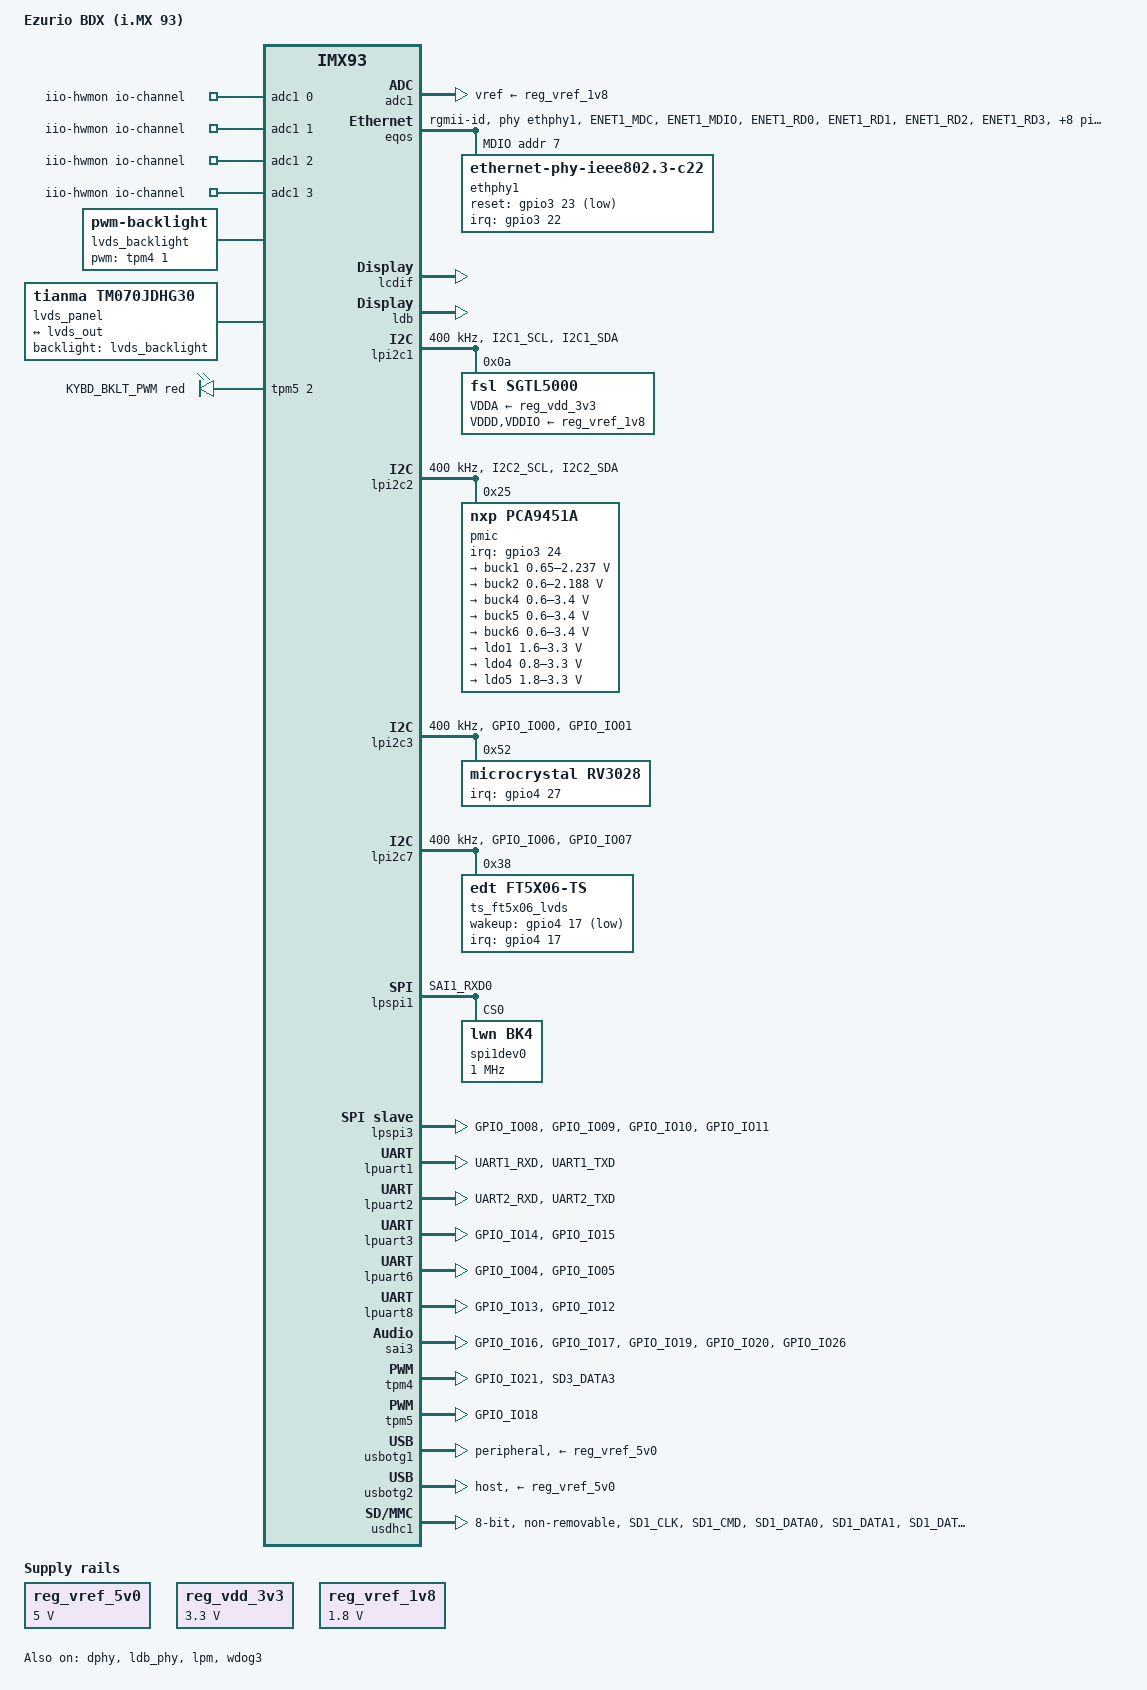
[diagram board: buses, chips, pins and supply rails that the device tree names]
// SPDX-License-Identifier: (GPL-2.0-or-later OR MIT)
/*
 * Copyright 2025 Ezurio LLC
 *
 */

/dts-v1/;

#include <dt-bindings/leds/common.h>
#include <dt-bindings/net/ti-dp83867.h>
#include <dt-bindings/usb/pd.h>
#include "imx93.dtsi"

/ {
	model = "Ezurio BDX (i.MX 93)";
	compatible = "ezurio,imx93-bdx", "fsl,imx93";

	aliases {
		eth0 = &eqos;
		rtc0 = &rv3028;
		rtc1 = &bbnsm_rtc;
	};

#if 0
	amplifier {
		compatible = "maxim,max9759"; /* U43 TPA2012D2RTJR */
		pinctrl-names = "default";
		pinctrl-0 = <&pinctrl_amp>;
		shutdown-gpios = <&gpio4 25 GPIO_ACTIVE_LOW>;
		// mute-gpios = <&gpio3 19 GPIO_ACTIVE_LOW>;
		gain-gpios = <&gpio4 28 GPIO_ACTIVE_LOW>,
			<&gpio4 29 GPIO_ACTIVE_LOW>;
	};
#endif

	chosen {
		stdout-path = &lpuart1;
	};

	iio-hwmon {
		compatible = "iio-hwmon";
		io-channels = <&adc1 0>, <&adc1 1>, <&adc1 2>, <&adc1 3>;
	};

	sound {
		compatible = "simple-audio-card";
		simple-audio-card,name = "sgtl5000-audio";
		simple-audio-card,format = "i2s";
		simple-audio-card,frame-master = <&codec_dai>;
		simple-audio-card,bitclock-master = <&codec_dai>;
		simple-audio-card,widgets = "Headphone", "Headphone Jack";
		simple-audio-card,routing = "Headphone Jack", "HP_OUT";

		simple-audio-card,cpu {
			sound-dai = <&sai3>;
		};

		codec_dai: simple-audio-card,codec {
			sound-dai = <&sgtl5000>;
		};
	};

	lvds_backlight: lvds_backlight {
		brightness-levels = <0 1 2 3 4 5 6 7 8 9 10>;
		compatible = "pwm-backlight";
		default-brightness-level = <8>;
		display = <&lcdif>;
		pwms = <&tpm4 1 30000 0>;		/* 33.3 Khz */
	};

	lvds_panel {
		compatible = "tianma,tm070jdhg30";	/* BD070LIC3 */
		backlight = <&lvds_backlight>;
		/* Done in u-boot. enable-gpios = <&gpio3 25 GPIO_ACTIVE_LOW>;  XS_LCD_PWR_EN_N */

		port {
			panel_lvds_in: endpoint {
				remote-endpoint = <&lvds_out>;
			};
		};
	};
#if 0
	dsi_backlight: dsi-backlight {
		brightness-levels = <0 1 2 3 4 5 6 7 8 9 10>;
		compatible = "pwm-backlight";
		default-brightness-level = <8>;
		display = <&lcdif>;
		pwms = <&tpm4 1 30000 0>; /* 42 = 24MHz  30000 = 3.3 Khz */
		status = "okay";
	};

	panel_dsi: panel-dsi {
		compatible = "tianma,tm070jdhg30"; /* BD070LIC3 */
		power-supply = <&reg_vref_1v8>;
		backlight = <&dsi_backlight>;

		port {
			panel_in: endpoint {
				remote-endpoint = <&sn65dsi84_bridge_out>;
			};
		};
	};

#endif

	leds {
		compatible = "pwm-leds";

		led-kybd-bklt {
			function = LED_FUNCTION_STATUS;
			color = <LED_COLOR_ID_RED>;
			label = "KYBD_BKLT_PWM";
			max-brightness = <248>;
			pwms = <&tpm5 2 200000 0>; /* 5KHz */
		};
	};

	reserved-memory {
		#address-cells = <2>;
		#size-cells = <2>;
		ranges;

		linux,cma {
			compatible = "shared-dma-pool";
			reusable;
			alloc-ranges = <0 0x80000000 0 0x40000000>;
			size = <0 0x10000000>;
			linux,cma-default;
		};

		ele_reserved: ele-reserved@a4120000 {
			compatible = "shared-dma-pool";
			reg = <0 0xa4120000 0 0x100000>;
			no-map;
		};
	};

	reg_vref_5v0: regulator-5v0 {
		compatible = "regulator-fixed";
		regulator-name = "vref_5V0";
		regulator-min-microvolt = <5000000>;
		regulator-max-microvolt = <5000000>;
	};

	reg_vdd_3v3: regulator-3v3 {
		compatible = "regulator-fixed";
		regulator-name = "vref_3V3";
		regulator-min-microvolt = <3300000>;
		regulator-max-microvolt = <3300000>;
	};

	reg_vref_1v8: regulator-1v8 {
		compatible = "regulator-fixed";
		regulator-name = "vref_1v8";
		regulator-min-microvolt = <1800000>;
		regulator-max-microvolt = <1800000>;
	};
};

&adc1 {
	vref-supply = <&reg_vref_1v8>;
	status = "okay";
};

&dphy {
	status = "okay";
};

&dsi {
	status = "disabled";

#if 0
	ports {
		port@1 {
			reg = <1>;
			dsi_out: endpoint {
				remote-endpoint = <&sn65dsi84_bridge_in>;
			};
		};
	};
#endif
};

&ele_fw2 {
	memory-region = <&ele_reserved>;
};

&eqos {
	pinctrl-names = "default", "sleep";
	pinctrl-0 = <&pinctrl_eqos>;
	pinctrl-1 = <&pinctrl_eqos_sleep>;
	phy-mode = "rgmii-id";
	phy-handle = <&ethphy1>;
	status = "okay";

	mdio {
		compatible = "snps,dwmac-mdio";
		#address-cells = <1>;
		#size-cells = <0>;

		ethphy1: ethernet-phy@7 {
			compatible = "ethernet-phy-ieee802.3-c22";
			pinctrl-names = "default";
			pinctrl-0 = <&pinctrl_phy>;
			reg = <7>;
			interrupts-extended = <&gpio3 22 IRQ_TYPE_LEVEL_LOW>;
			reset-gpios =<&gpio3 23 GPIO_ACTIVE_LOW>;
			reset-assert-us = <25>;
			reset-deassert-us = <60000>;
			ti,rx-internal-delay = <DP83867_RGMIIDCTL_2_25_NS>;
			ti,tx-internal-delay = <DP83867_RGMIIDCTL_2_00_NS>;
			ti,fifo-depth = <DP83867_PHYCR_FIFO_DEPTH_4_B_NIB>;
			ti,clk-output-sel = <DP83867_CLK_O_SEL_OFF>;
		};
	};
};

&gpio2 {
	gpio-line-names = "", "", "", "", "", "",	/* 0 - 5 */
			"", "", "", "", "",		/* 6 - 10 */
			"", "", "", "", "",		/* 11 - 15 */
			"", "", "", "", "",		/* 16 - 20 */
			"", "BKUP_ARM", "LCD_BL_EN", "XS_WD_STRB", "WDO_BUF_N",	/* 21 - 25 */
			"", "VBKUP_SRC_EN_N", "VBKUP_SRC_TST_N", "XS_ID_ENBL_L", "", /* 26 - 30 */
			"";							/* 31 */
};

&gpio3 {
	gpio-line-names = "SD2_CD_B", "MON_LT", "BATT_LT", "REV0", "REV1", "REV2",	/* 0 - 5 */
			"REV3", "REV4", "", "", "",					/* 6 - 10 */
			"", "", "", "", "",						/* 11 - 15 */
			"", "", "", "", "TP_INT",					/* 16 - 20 */
			"BL_EN_N", "ENET1_INTR", "ENET1_RST", "PMIC_IRQ", "XS_LCD_PWR_EN_N", /* 21 - 25 */
			"GPIO26", "GPIO27", "", "", "",					/* 26 - 30 */
			"";								/* 31 */
};

&gpio4 {
	gpio-line-names = "", "", "", "", "", "",					/* 0 - 5 */
			"", "", "", "", "",						/* 6 - 10 */
			"", "", "", "XS_MMC_MMCCMD", "XS_AUX_DET1",			/* 11 - 15 */
			"XS_GPIO109", "PCAP_INT", "XS_AUX_DET3", "XS_AUX_DET2", "XS_LI_BAT_TEST", /* 16 - 20 */
			"CODEC_LI_BAT_TEST", "TP_RST", "MIPI_RST", "BKUP_ALM_OFF", "AMP_SHDN",	/* 21 - 25 */
			"EMMC_RESET_N", "RTC_INT_B", "AUD_GAIN_0", "AUD_GAIN_1", "",	/* 26 - 30 */
			"";								/* 31 */
};

&lcdif {
	assigned-clock-rates = <498000000>, <71142857>, <400000000>, <133333333>;
	status = "okay";
};

&ldb {
	status = "okay";

	lvds-channel@0 {
		status = "okay";

		port@1 {
			reg = <1>;

			lvds_out: endpoint {
				remote-endpoint = <&panel_lvds_in>;
			};
		};
	};

};

&ldb_phy {
	status = "okay";
};

&lpi2c1 {
	#address-cells = <1>;
	#size-cells = <0>;
	clock-frequency = <400000>;
	pinctrl-names = "default", "sleep";
	pinctrl-0 = <&pinctrl_lpi2c1>;
	pinctrl-1 = <&pinctrl_lpi2c1>;
	status = "okay";

	sgtl5000: audio-codec@a {
		compatible = "fsl,sgtl5000";
		reg = <0x0a>;

		clocks = <&clk IMX93_CLK_SAI3_GATE>;
		#sound-dai-cells = <0>;

		VDDA-supply  = <&reg_vdd_3v3>;
		VDDD-supply  = <&reg_vref_1v8>;
		VDDIO-supply = <&reg_vref_1v8>;
	};
};

&lpi2c2 {
	#address-cells = <1>;
	#size-cells = <0>;
	clock-frequency = <400000>;
	pinctrl-names = "default", "sleep";
	pinctrl-0 = <&pinctrl_lpi2c2>;
	pinctrl-1 = <&pinctrl_lpi2c2>;
	status = "okay";

	pmic@25 {
		compatible = "nxp,pca9451a";
		reg = <0x25>;
		pinctrl-names = "default";
		pinctrl-0 = <&pinctrl_pmic>;
		interrupts-extended = <&gpio3 24 IRQ_TYPE_EDGE_FALLING>;

		regulators {
			buck1: BUCK1 {
				regulator-name = "BUCK1";
				regulator-min-microvolt = <650000>;
				regulator-max-microvolt = <2237500>;
				regulator-boot-on;
				regulator-always-on;
				regulator-ramp-delay = <3125>;
			};

			buck2: BUCK2 {
				regulator-name = "BUCK2";
				regulator-min-microvolt = <600000>;
				regulator-max-microvolt = <2187500>;
				regulator-boot-on;
				regulator-always-on;
				regulator-ramp-delay = <3125>;
			};

			buck4: BUCK4{
				regulator-name = "BUCK4";
				regulator-min-microvolt = <600000>;
				regulator-max-microvolt = <3400000>;
				regulator-boot-on;
				regulator-always-on;
			};

			buck5: BUCK5{
				regulator-name = "BUCK5";
				regulator-min-microvolt = <600000>;
				regulator-max-microvolt = <3400000>;
				regulator-boot-on;
				regulator-always-on;
			};

			buck6: BUCK6 {
				regulator-name = "BUCK6";
				regulator-min-microvolt = <600000>;
				regulator-max-microvolt = <3400000>;
				regulator-boot-on;
				regulator-always-on;
			};

			ldo1: LDO1 {
				regulator-name = "LDO1";
				regulator-min-microvolt = <1600000>;
				regulator-max-microvolt = <3300000>;
				regulator-boot-on;
				regulator-always-on;
			};

			ldo4: LDO4 {
				regulator-name = "LDO4";
				regulator-min-microvolt = <800000>;
				regulator-max-microvolt = <3300000>;
				regulator-boot-on;
				regulator-always-on;
			};

			ldo5: LDO5 {
				regulator-name = "LDO5";
				regulator-min-microvolt = <1800000>;
				regulator-max-microvolt = <3300000>;
				regulator-boot-on;
				regulator-always-on;
			};
		};
	};
};

&lpi2c3 {
	#address-cells = <1>;
	#size-cells = <0>;
	clock-frequency = <400000>;
	pinctrl-names = "default", "sleep";
	pinctrl-0 = <&pinctrl_lpi2c3>;
	pinctrl-1 = <&pinctrl_lpi2c3>;
	status = "okay";

	rv3028: rtc@52 {
		#clock-cells = <0>;
		pinctrl-names = "default";
		pinctrl-0 = <&pinctrl_rv3028>;
		compatible = "microcrystal,rv3028";
		reg = <0x52>;
		interrupts-extended = <&gpio4 27 IRQ_TYPE_LEVEL_LOW>;
		wakeup-source;
	};
};

&lpi2c7 { /* TP */
	#address-cells = <1>;
	#size-cells = <0>;
	clock-frequency = <400000>;
	pinctrl-names = "default", "sleep";
	pinctrl-0 = <&pinctrl_lpi2c7>;
	pinctrl-1 = <&pinctrl_lpi2c7>;
	status = "okay";

#if 0
	/* 0x5d or 0x14 */
	ts_goodix_dsi: touchscreen_dsi@5d {
		compatible = "goodix,gt9271";
		AVDD28-supply = <&reg_vref_1v8>; /* Real supply is on the display */
		VDDIO-supply = <&reg_vref_1v8>;
		esd-recovery-timeout-ms = <2000>;
		interrupts-extended = <&gpio4 17 IRQ_TYPE_EDGE_RISING>;
		irq-gpios = <&gpio4 17 GPIO_ACTIVE_HIGH>; /* PCAP_INT */
		pinctrl-names = "default";
		pinctrl-0 = <&pinctrl_ts_dsi_gt911>;
		reg = <0x5d>;
		reset-gpios = <&gpio4 22 GPIO_ACTIVE_HIGH>; /* TP_RST */
		status = "okay";
	};
#else
       ts_ft5x06_lvds: touchscreen@38 {
               compatible = "edt,ft5x06-ts";
               interrupts-extended = <&gpio4 17 IRQ_TYPE_EDGE_FALLING>;
               pinctrl-names = "default";
               pinctrl-0 = <&pinctrl_ts_dsi_gt911>;
               reg = <0x38>;
               status = "okay";
               //reset-gpios = <&gpio4 22 GPIO_ACTIVE_LOW>;
               wakeup-gpios = <&gpio4 17 GPIO_ACTIVE_LOW>;
       };
#endif

#if 0
	dsi0_sn65dsi84: dsi0@2c {
		compatible = "ti,sn65dsi84";
		pinctrl-names = "default";
		pinctrl-0 = <&pinctrl_sn65>;
		enable-gpios = <&gpio4 23 GPIO_ACTIVE_HIGH>; /* MIPI_RST */
		/* This driver does NOT use the interrupt pin */
		reg = <0x2c>;
		vcc-supply = <&reg_vref_1v8>;
		status = "okay";

		ports {
		#address-cells = <1>;
		#size-cells = <0>;

			port@0 {
				reg = <0>;

				sn65dsi84_bridge_in: endpoint {
					remote-endpoint = <&dsi_out>;
					data-lanes = <1 2 3 4>;
				};
			};

			port@2 {
				reg = <2>;

				sn65dsi84_bridge_out: endpoint {
					remote-endpoint = <&panel_in>;
				};
			};

		};
	};
#endif
};

&lpm {
	soc-supply = <&buck1>;
	status = "okay";
};

&lpspi1 { /* SPI1 MOSI ONLY */
	fsl,spi-num-chipselects = <0>;
	pinctrl-names = "default", "sleep";
	pinctrl-0 = <&pinctrl_lpspi1>;
	pinctrl-1 = <&pinctrl_lpspi1>;
	status = "okay";

	spi1dev0: spi1@0 {
		reg = <0>;
		compatible = "lwn,bk4";
		spi-max-frequency = <1000000>;
	};
};

&lpspi3 { /* SPI0_PKB */
	#address-cells = <0>;
	fsl,spi-num-chipselects = <1>;
	pinctrl-names = "default", "sleep";
	pinctrl-0 = <&pinctrl_lpspi3>;
	pinctrl-1 = <&pinctrl_lpspi3>;
	spi-slave;
	status = "okay";

	slave {
		compatible = "lwn,bk4";
		spi-max-frequency = <1000000>;
	};
};

&lpuart1 { /* Console / UART1_SIO */
	pinctrl-names = "default";
	pinctrl-0 = <&pinctrl_uart1>;
	status = "okay";
};

&lpuart2 { /* UART2_XS_FF / M33 console */
	pinctrl-names = "default";
	pinctrl-0 = <&pinctrl_uart2>;
	status = "okay";
};

&lpuart3 { /* UART3_SPARE */
	pinctrl-names = "default";
	pinctrl-0 = <&pinctrl_uart3>;
	status = "okay";
};

&lpuart6 { /* UART6_XS_BT */
	pinctrl-names = "default";
	pinctrl-0 = <&pinctrl_uart6>;
	status = "okay";
};

&lpuart8 { /* UART8_PS */
	pinctrl-names = "default";
	pinctrl-0 = <&pinctrl_uart8>;
	status = "okay";
};

&sai3 { /* I2S1 */
	#sound-dai-cells = <0>;
	pinctrl-names = "default";
	pinctrl-0 = <&pinctrl_sai3>;
	assigned-clocks = <&clk IMX93_CLK_SAI3>;
	assigned-clock-parents = <&clk IMX93_CLK_AUDIO_PLL>;
	assigned-clock-rates = <12288000>;
	fsl,sai-mclk-direction-output;
	status = "okay";
};

&tpm4 { /* LCD Backlight */
	pinctrl-names = "default";
	pinctrl-0 = <&pinctrl_backlight_lcd>;
	status = "okay";
};

&tpm5 { /* KYBD_BKLT_PWM */
	pinctrl-names = "default";
	pinctrl-0 = <&pinctrl_kybd_bklt>;
	status = "okay";
};

&usbotg1 { /* USB1 */
	dr_mode = "peripheral";
	vbus-supply = <&reg_vref_5v0>;
	status = "okay";
};

&usbotg2 { /* USB2 - J1 */
	dr_mode = "host";
	disable-over-current;
	vbus-supply = <&reg_vref_5v0>;
	status = "okay";
};

&usdhc1 { /* eMMC */
	pinctrl-names = "default", "state_100mhz", "state_200mhz";
	pinctrl-0 = <&pinctrl_usdhc1>;
	pinctrl-1 = <&pinctrl_usdhc1_100mhz>;
	pinctrl-2 = <&pinctrl_usdhc1_200mhz>;
	bus-width = <8>;
	non-removable;
	status = "okay";
};

&wdog3 {
	status = "okay";
};

&iomuxc {
	pinctrl-names = "default";
	pinctrl-0 = <&pinctrl_hog>;

	pinctrl_hog: hoggrp {
		fsl,pins = <
			MX93_PAD_GPIO_IO22__GPIO2_IO22		0x31e /* BKUP_ARM */
			MX93_PAD_GPIO_IO23__GPIO2_IO23		0x31e /* LCD_BL_EN */
			MX93_PAD_GPIO_IO24__GPIO2_IO24		0x31e /* XS_WD_STRB */
			MX93_PAD_GPIO_IO25__GPIO2_IO25		0x31e /* WDO_BUF_N */
			MX93_PAD_GPIO_IO27__GPIO2_IO27		0x31e /* VBKUP_SRC_EN_N */
			MX93_PAD_GPIO_IO28__GPIO2_IO28		0x31e /* VBKUP_SRC_TST_N */
			MX93_PAD_GPIO_IO29__GPIO2_IO29		0x31e /* XS_ID_ENBL_L */
			MX93_PAD_SD2_CD_B__GPIO3_IO00		0x31e /* SD2_CD_B */
			MX93_PAD_SD2_CLK__GPIO3_IO01		0x31e /* MON_LT */
			MX93_PAD_SD2_CMD__GPIO3_IO02		0x31e /* BATT_LT */
			MX93_PAD_SD2_DATA0__GPIO3_IO03		0x31e /* REV0 */
			MX93_PAD_SD2_DATA1__GPIO3_IO04		0x31e /* REV1 */
			MX93_PAD_SD2_DATA2__GPIO3_IO05		0x31e /* REV2 */
			MX93_PAD_SD2_DATA3__GPIO3_IO06		0x31e /* REV3 */
			MX93_PAD_SD2_RESET_B__GPIO3_IO07	0x31e /* REV4 */
			MX93_PAD_SD3_CLK__GPIO3_IO20		0x31e /* TP_INT */
			MX93_PAD_SD3_CMD__GPIO3_IO21		0x31e /* BL_EN_N */
			MX93_PAD_CCM_CLKO1__GPIO3_IO26		0x31e /* GPIO26 */
			MX93_PAD_CCM_CLKO2__GPIO3_IO27		0x31e /* GPIO27 */
			MX93_PAD_ENET2_MDC__GPIO4_IO14		0x31e /* XS_MMC_MMCCMD */
			MX93_PAD_ENET2_MDIO__GPIO4_IO15		0x31e /* XS_AUX_DET1 */
			MX93_PAD_ENET2_TD3__GPIO4_IO16		0x31e /* XS_GPIO109 */
			MX93_PAD_ENET2_TD1__GPIO4_IO18		0x31e /* XS_AUX_DET3 */
			MX93_PAD_ENET2_TD0__GPIO4_IO19		0x31e /* XS_AUX_DET2 */
			MX93_PAD_ENET2_TX_CTL__GPIO4_IO20	0x31e /* XS_LI_BAT_TEST */
			MX93_PAD_ENET2_TXC__GPIO4_IO21		0x31e /* CODEC_LI_BAT_TEST */
			MX93_PAD_ENET2_RD0__GPIO4_IO24		0x31e /* BKUP_ALM_OFF */
			MX93_PAD_ENET2_RD2__GPIO4_IO26		0x31e /* EMMC_RESET_N */
		>;
	};

	pinctrl_amp: ampgrp {
		fsl,pins = <
			MX93_PAD_ENET2_RD1__GPIO4_IO25		0x31e /* AMP_SHDN */
			MX93_PAD_CCM_CLKO3__GPIO4_IO28		0x31e /* AUD_GAIN_0 */
			MX93_PAD_CCM_CLKO4__GPIO4_IO29		0x31e /* AUD_GAIN_1 */
		>;
	};

	pinctrl_backlight_lcd: backlight-lcdgrp {
		fsl,pins = <
			MX93_PAD_GPIO_IO21__TPM4_CH1		0x02
			MX93_PAD_SD3_DATA3__GPIO3_IO25		0x31e /* XS_LCD_PWR_EN_N */
		>;
	};

	pinctrl_sn65: sn65grp {
		fsl,pins = <
			MX93_PAD_ENET2_RXC__GPIO4_IO23		0x31e /* MIPI_RST */
		>;
	};

	pinctrl_eqos: eqosgrp {
		fsl,pins = <
			MX93_PAD_ENET1_MDC__ENET_QOS_MDC			0x57e
			MX93_PAD_ENET1_MDIO__ENET_QOS_MDIO			0x57e
			MX93_PAD_ENET1_RD0__ENET_QOS_RGMII_RD0			0x37e
			MX93_PAD_ENET1_RD1__ENET_QOS_RGMII_RD1			0x37e
			MX93_PAD_ENET1_RD2__ENET_QOS_RGMII_RD2			0x37e
			MX93_PAD_ENET1_RD3__ENET_QOS_RGMII_RD3			0x37e
			MX93_PAD_ENET1_RXC__CCM_ENET_QOS_CLOCK_GENERATE_RX_CLK	0x3fe
			MX93_PAD_ENET1_RX_CTL__ENET_QOS_RGMII_RX_CTL		0x57e
			MX93_PAD_ENET1_TD0__ENET_QOS_RGMII_TD0			0x57e
			MX93_PAD_ENET1_TD1__ENET_QOS_RGMII_TD1			0x57e
			MX93_PAD_ENET1_TD2__ENET_QOS_RGMII_TD2			0x57e
			MX93_PAD_ENET1_TD3__ENET_QOS_RGMII_TD3			0x57e
			MX93_PAD_ENET1_TXC__CCM_ENET_QOS_CLOCK_GENERATE_TX_CLK	0x5fe
			MX93_PAD_ENET1_TX_CTL__ENET_QOS_RGMII_TX_CTL		0x57e
		>;
	};

	pinctrl_eqos_sleep: eqosgrpsleep {
		fsl,pins = <
			MX93_PAD_ENET1_MDC__GPIO4_IO00				0x31e
			MX93_PAD_ENET1_MDIO__GPIO4_IO01				0x31e
			MX93_PAD_ENET1_RD0__GPIO4_IO10				0x31e
			MX93_PAD_ENET1_RD1__GPIO4_IO11				0x31e
			MX93_PAD_ENET1_RD2__GPIO4_IO12				0x31e
			MX93_PAD_ENET1_RD3__GPIO4_IO13				0x31e
			MX93_PAD_ENET1_RXC__GPIO4_IO09				0x31e
			MX93_PAD_ENET1_RX_CTL__GPIO4_IO08			0x31e
			MX93_PAD_ENET1_TD0__GPIO4_IO05				0x31e
			MX93_PAD_ENET1_TD1__GPIO4_IO04				0x31e
			MX93_PAD_ENET1_TD2__GPIO4_IO03				0x31e
			MX93_PAD_ENET1_TD3__GPIO4_IO02				0x31e
			MX93_PAD_ENET1_TXC__GPIO4_IO07				0x31e
			MX93_PAD_ENET1_TX_CTL__GPIO4_IO06			0x31e
		>;
	};

	pinctrl_kybd_bklt: kybd-bkltgrp {
		fsl,pins = <
			MX93_PAD_GPIO_IO18__TPM5_CH2				0x02 /* KYBD_BKLT_PWM */
		>;
	};

	pinctrl_phy: ethphygrp {
		fsl,pins = <
			MX93_PAD_SD3_DATA0__GPIO3_IO22				0x31e /* ENET1_INTR */
			MX93_PAD_SD3_DATA1__GPIO3_IO23				0x31e /* ENET1_RST */
		>;
	};

	pinctrl_pmic: pmicgrp {
		fsl,pins = <
			MX93_PAD_SD3_DATA2__GPIO3_IO24				0x31e /* PMIC_IRQ */
		>;
	};

	pinctrl_lpi2c1: lpi2c1grp {
		fsl,pins = <
			MX93_PAD_I2C1_SCL__LPI2C1_SCL				0x40000b9e
			MX93_PAD_I2C1_SDA__LPI2C1_SDA				0x40000b9e
		>;
	};

	pinctrl_lpi2c2: lpi2c2grp {
		fsl,pins = <
			MX93_PAD_I2C2_SCL__LPI2C2_SCL				0x40000b9e
			MX93_PAD_I2C2_SDA__LPI2C2_SDA				0x40000b9e
		>;
	};

	pinctrl_lpi2c3: lpi2c3grp {
		fsl,pins = <
			MX93_PAD_GPIO_IO00__LPI2C3_SDA				0x40000b9e
			MX93_PAD_GPIO_IO01__LPI2C3_SCL				0x40000b9e
		>;
	};

	pinctrl_lpi2c7: lpi2c7grp {
		fsl,pins = <
			MX93_PAD_GPIO_IO06__LPI2C7_SDA				0x40000b9e
			MX93_PAD_GPIO_IO07__LPI2C7_SCL				0x40000b9e
		>;
	};

	pinctrl_lpspi1: lpspi1grp {
		fsl,pins = <
			MX93_PAD_SAI1_RXD0__LPSPI1_SOUT				0x3fe
		>;
	};

	pinctrl_lpspi3: lpspi3grp {
		fsl,pins = <
			MX93_PAD_GPIO_IO08__LPSPI3_PCS0				0x3fe
			MX93_PAD_GPIO_IO09__LPSPI3_SIN				0x3fe
			MX93_PAD_GPIO_IO10__LPSPI3_SOUT				0x3fe
			MX93_PAD_GPIO_IO11__LPSPI3_SCK				0x3fe
		>;
	};

	pinctrl_rv3028: rv3028grp {
		fsl,pins = <
			MX93_PAD_ENET2_RD3__GPIO4_IO27				0x31e /* RTC_INT_B */
		>;
	};

	pinctrl_sai3: sai3grp {
		fsl,pins = <
			MX93_PAD_GPIO_IO16__SAI3_TX_BCLK			0x302
			MX93_PAD_GPIO_IO17__SAI3_MCLK				0x302
			MX93_PAD_GPIO_IO19__SAI3_TX_DATA00			0x302
			MX93_PAD_GPIO_IO20__SAI3_RX_DATA00			0x302
			MX93_PAD_GPIO_IO26__SAI3_TX_SYNC			0x302
		>;
	};

	pinctrl_ts_dsi_gt911: ts-dsi-gt911grp {
		fsl,pins = <
			MX93_PAD_ENET2_TD2__GPIO4_IO17				0x31e /* PCAP_INT */
			MX93_PAD_ENET2_RX_CTL__GPIO4_IO22			0x31e /* TP_RST */
		>;
	};

	pinctrl_uart1: uart1grp {
		fsl,pins = <
			MX93_PAD_UART1_RXD__LPUART1_RX				0x31e
			MX93_PAD_UART1_TXD__LPUART1_TX				0x31e
		>;
	};

	pinctrl_uart2: uart2grp {
		fsl,pins = <
			MX93_PAD_UART2_RXD__LPUART2_RX				0x31e
			MX93_PAD_UART2_TXD__LPUART2_TX				0x31e
		>;
	};

	pinctrl_uart3: uart3grp {
		fsl,pins = <
			MX93_PAD_GPIO_IO14__LPUART3_TX				0x31e
			MX93_PAD_GPIO_IO15__LPUART3_RX				0x31e
		>;
	};

	pinctrl_uart6: uart6grp {
		fsl,pins = <
			MX93_PAD_GPIO_IO04__LPUART6_TX				0x31e
			MX93_PAD_GPIO_IO05__LPUART6_RX				0x31e
		>;
	};

	pinctrl_uart8: uart8grp {
		fsl,pins = <
			MX93_PAD_GPIO_IO13__LPUART8_RX				0x31e
			MX93_PAD_GPIO_IO12__LPUART8_TX				0x31e
		>;
	};

	/* need to config the SION for data and cmd pad, refer to ERR052021 */
	pinctrl_usdhc1: usdhc1grp {
		fsl,pins = <
			MX93_PAD_SD1_CLK__USDHC1_CLK		0x1582
			MX93_PAD_SD1_CMD__USDHC1_CMD		0x40001382
			MX93_PAD_SD1_DATA0__USDHC1_DATA0	0x40001382
			MX93_PAD_SD1_DATA1__USDHC1_DATA1	0x40001382
			MX93_PAD_SD1_DATA2__USDHC1_DATA2	0x40001382
			MX93_PAD_SD1_DATA3__USDHC1_DATA3	0x40001382
			MX93_PAD_SD1_DATA4__USDHC1_DATA4	0x40001382
			MX93_PAD_SD1_DATA5__USDHC1_DATA5	0x40001382
			MX93_PAD_SD1_DATA6__USDHC1_DATA6	0x40001382
			MX93_PAD_SD1_DATA7__USDHC1_DATA7	0x40001382
			MX93_PAD_SD1_STROBE__USDHC1_STROBE	0x1582
		>;
	};

	/* need to config the SION for data and cmd pad, refer to ERR052021 */
	pinctrl_usdhc1_100mhz: usdhc1-100mhzgrp {
		fsl,pins = <
			MX93_PAD_SD1_CLK__USDHC1_CLK		0x158e
			MX93_PAD_SD1_CMD__USDHC1_CMD		0x4000138e
			MX93_PAD_SD1_DATA0__USDHC1_DATA0	0x4000138e
			MX93_PAD_SD1_DATA1__USDHC1_DATA1	0x4000138e
			MX93_PAD_SD1_DATA2__USDHC1_DATA2	0x4000138e
			MX93_PAD_SD1_DATA3__USDHC1_DATA3	0x4000138e
			MX93_PAD_SD1_DATA4__USDHC1_DATA4	0x4000138e
			MX93_PAD_SD1_DATA5__USDHC1_DATA5	0x4000138e
			MX93_PAD_SD1_DATA6__USDHC1_DATA6	0x4000138e
			MX93_PAD_SD1_DATA7__USDHC1_DATA7	0x4000138e
			MX93_PAD_SD1_STROBE__USDHC1_STROBE	0x158e
		>;
	};

	/* need to config the SION for data and cmd pad, refer to ERR052021 */
	pinctrl_usdhc1_200mhz: usdhc1-200mhzgrp {
		fsl,pins = <
			MX93_PAD_SD1_CLK__USDHC1_CLK		0x15fe
			MX93_PAD_SD1_CMD__USDHC1_CMD		0x400013fe
			MX93_PAD_SD1_DATA0__USDHC1_DATA0	0x400013fe
			MX93_PAD_SD1_DATA1__USDHC1_DATA1	0x400013fe
			MX93_PAD_SD1_DATA2__USDHC1_DATA2	0x400013fe
			MX93_PAD_SD1_DATA3__USDHC1_DATA3	0x400013fe
			MX93_PAD_SD1_DATA4__USDHC1_DATA4	0x400013fe
			MX93_PAD_SD1_DATA5__USDHC1_DATA5	0x400013fe
			MX93_PAD_SD1_DATA6__USDHC1_DATA6	0x400013fe
			MX93_PAD_SD1_DATA7__USDHC1_DATA7	0x400013fe
			MX93_PAD_SD1_STROBE__USDHC1_STROBE	0x15fe
		>;
	};
};
